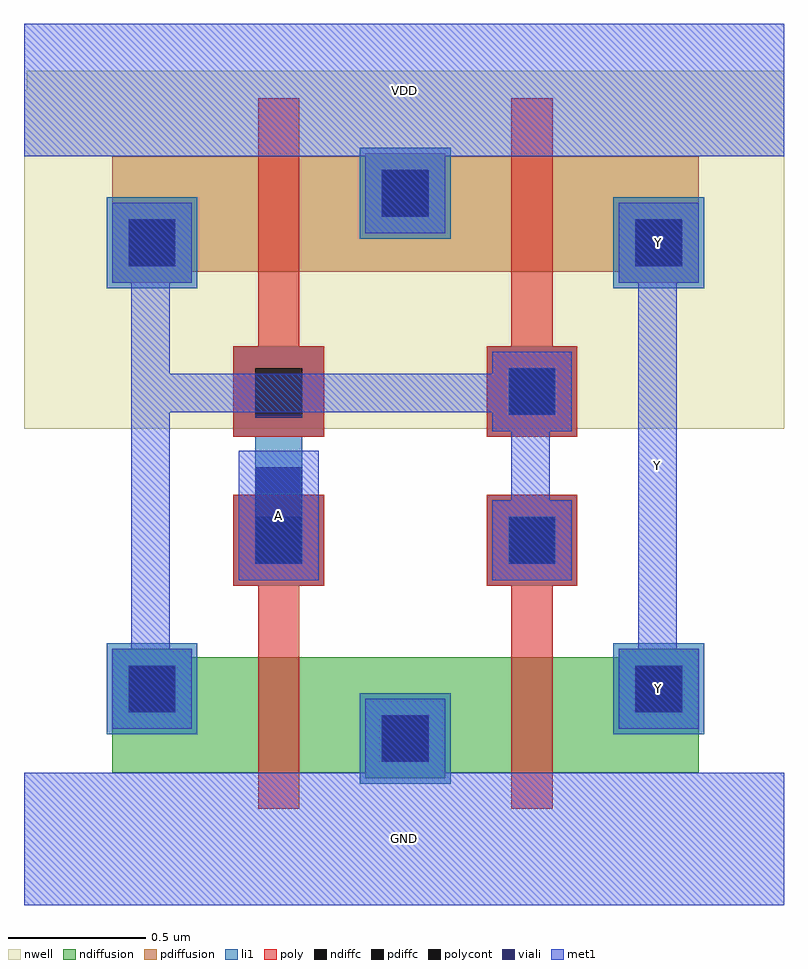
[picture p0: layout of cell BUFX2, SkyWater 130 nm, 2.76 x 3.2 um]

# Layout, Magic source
magic
# Generated by librecell
tech sky130A
<< nwell >>
rect 0 149 276 272
rect 1 272 276 279
<< viali >>
<< viali >>
rect 84 117 101 118
<< viali >>
rect 84 153 101 154
rect 130 28 147 45
rect 38 46 55 63
rect 222 46 239 63
rect 84 100 101 117
rect 176 100 193 117
rect 84 118 101 135
rect 176 154 193 171
rect 38 208 55 225
rect 222 208 239 225
rect 130 226 147 243
<< poly >>
rect 85 11 100 92
rect 76 92 109 125
rect 177 11 192 92
rect 168 92 201 125
rect 76 146 109 179
rect 85 179 100 269
rect 168 146 201 179
rect 177 179 192 269
<< properties >>
string FIXED_BBOX 0 0 276 272
<< li1 >>
rect 122 20 155 53
rect 30 38 63 71
rect 214 38 247 71
rect 168 92 201 125
rect 76 92 109 125
rect 84 125 101 146
rect 76 146 109 179
rect 168 146 201 179
rect 30 200 63 233
rect 214 200 247 233
rect 122 218 155 251
<< met1 >>
rect 0 -24 276 24
rect 124 24 153 51
rect 78 94 107 141
rect 32 40 61 69
rect 170 94 199 123
rect 177 123 191 148
rect 39 69 53 155
rect 170 148 199 155
rect 39 155 199 169
rect 170 169 199 177
rect 39 169 53 202
rect 32 202 61 231
rect 216 40 245 69
rect 223 69 237 202
rect 216 202 245 231
rect 124 220 153 248
rect 0 248 276 296
<< li1 >>
<< met1 >>
<< li1 >>
<< met1 >>
rect 0 -24 276 24
rect 78 94 107 141
rect 216 40 245 69
rect 223 69 237 202
rect 216 202 245 231
rect 0 248 276 296
<< ndiffusion >>
rect 124 22 153 24
rect 32 24 245 66
rect 32 66 61 69
rect 216 66 245 69
<< pdiffusion >>
rect 32 202 61 206
rect 216 202 245 206
rect 32 206 245 248
rect 124 248 153 249
<< polycont >>
rect 84 100 101 117
rect 176 100 193 117
rect 84 154 101 171
rect 176 154 193 171
<< pdiffc >>
rect 38 208 55 225
rect 222 208 239 225
rect 130 226 147 243
<< ndiffc >>
rect 130 28 147 45
rect 38 46 55 63
rect 222 46 239 63
<< labels >>
rlabel metal2 0 248 276 296 0 VDD
port 1 se
rlabel metal2 0 -24 276 24 0 GND
port 2 se
rlabel metal2 216 40 245 69 0 Y
port 3 se
rlabel metal2 223 69 237 202 0 Y
port 4 se
rlabel metal2 216 202 245 231 0 Y
port 5 se
rlabel metal2 78 94 107 141 0 A
port 6 se
<< end >>
